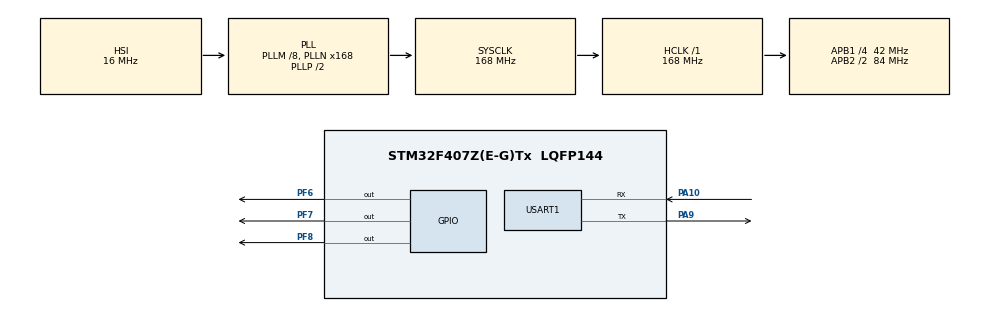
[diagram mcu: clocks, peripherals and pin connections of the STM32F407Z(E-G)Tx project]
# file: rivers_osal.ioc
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Dma.Request0=USART1_RX
Dma.Request1=USART1_TX
Dma.USART1_RX.0.Direction=DMA_PERIPH_TO_MEMORY
Dma.USART1_RX.0.FIFOMode=DMA_FIFOMODE_DISABLE
Dma.USART1_RX.0.Instance=DMA2_Stream2
Dma.USART1_RX.0.MemDataAlignment=DMA_MDATAALIGN_BYTE
Dma.USART1_RX.0.MemInc=DMA_MINC_ENABLE
Dma.USART1_RX.0.Mode=DMA_NORMAL
Dma.USART1_RX.0.PeriphDataAlignment=DMA_PDATAALIGN_BYTE
Dma.USART1_RX.0.PeriphInc=DMA_PINC_DISABLE
Dma.USART1_RX.0.Priority=DMA_PRIORITY_LOW
Dma.USART1_TX.1.Direction=DMA_MEMORY_TO_PERIPH
Dma.USART1_TX.1.FIFOMode=DMA_FIFOMODE_DISABLE
Dma.USART1_TX.1.Instance=DMA2_Stream7
Dma.USART1_TX.1.MemDataAlignment=DMA_MDATAALIGN_BYTE
Dma.USART1_TX.1.MemInc=DMA_MINC_ENABLE
Dma.USART1_TX.1.Mode=DMA_NORMAL
Dma.USART1_TX.1.PeriphDataAlignment=DMA_PDATAALIGN_BYTE
Dma.USART1_TX.1.PeriphInc=DMA_PINC_DISABLE
Dma.USART1_TX.1.Priority=DMA_PRIORITY_LOW
Mcu.Family=STM32F4
Mcu.Name=STM32F407Z(E-G)Tx
Mcu.Package=LQFP144
NVIC.DMA2_Stream2_IRQn=true\:0\:0\:false\:false\:true\:false\:true\:true
NVIC.DMA2_Stream7_IRQn=true\:0\:0\:false\:false\:true\:false\:true\:true
NVIC.PriorityGroup=NVIC_PRIORITYGROUP_4
NVIC.TIM8_BRK_TIM12_IRQn=true\:15\:0\:false\:false\:true\:false\:true\:true
NVIC.TimeBase=TIM8_BRK_TIM12_IRQn
NVIC.TimeBaseIP=TIM12
NVIC.USART1_IRQn=true\:0\:0\:false\:false\:true\:false\:true\:true
PA10.Mode=Asynchronous
PA10.Signal=USART1_RX
PA13.Mode=Serial_Wire
PA13.Signal=SYS_JTMS-SWDIO
PA14.Mode=Serial_Wire
PA14.Signal=SYS_JTCK-SWCLK
PA9.Mode=Asynchronous
PA9.Signal=USART1_TX
PF6.PinState=GPIO_PIN_SET
PF6.Signal=GPIO_Output
PF7.PinState=GPIO_PIN_SET
PF7.Signal=GPIO_Output
PF8.PinState=GPIO_PIN_SET
PF8.Signal=GPIO_Output
PH0-OSC_IN.Mode=HSE-External-Oscillator
PH0-OSC_IN.Signal=RCC_OSC_IN
PH1-OSC_OUT.Mode=HSE-External-Oscillator
PH1-OSC_OUT.Signal=RCC_OSC_OUT
ProjectManager.HeapSize=0x200
ProjectManager.StackSize=0x400
ProjectManager.TargetToolchain=MDK-ARM V5.32
RCC.48MHZClocksFreq_Value=84000000
RCC.AHBFreq_Value=168000000
RCC.APB1CLKDivider=RCC_HCLK_DIV4
RCC.APB1Freq_Value=42000000
RCC.APB1TimFreq_Value=84000000
RCC.APB2CLKDivider=RCC_HCLK_DIV2
RCC.APB2Freq_Value=84000000
RCC.APB2TimFreq_Value=168000000
RCC.CortexFreq_Value=168000000
RCC.HCLKFreq_Value=168000000
RCC.HSE_VALUE=25000000
RCC.HSI_VALUE=16000000
RCC.LSE_VALUE=32768
RCC.PLLM=8
RCC.PLLN=168
RCC.SYSCLKFreq_VALUE=168000000
RCC.SYSCLKSource=RCC_SYSCLKSOURCE_PLLCLK
RCC.VCOOutputFreq_Value=336000000
USART1.VirtualMode=VM_ASYNC
VP_SYS_VS_tim12.Mode=TIM12
board=custom

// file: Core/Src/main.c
/* USER CODE BEGIN Header */
/**
  ******************************************************************************
  * @file           : main.c
  * @brief          : Main program body
  ******************************************************************************
  * @attention
  *
  * Copyright (c) 2026 STMicroelectronics.
  * All rights reserved.
  *
  * This software is licensed under terms that can be found in the LICENSE file
  * in the root directory of this software component.
  * If no LICENSE file comes with this software, it is provided AS-IS.
  *
  ******************************************************************************
  */
/* USER CODE END Header */
#include "main.h"
#include "dma.h"
#include "usart.h"
#include "gpio.h"

/* USER CODE BEGIN Includes */
/* 如需启用 Flash 示例，请在包含 osal.h 之前先把下面这个宏改成 1。
 * 原因是 osal.h 会继续聚合平台头文件，而平台头里的部分示例配置会读取这个宏。 */
/* #define OSAL_PLATFORM_ENABLE_FLASH_DEMO 1 */
#include "osal.h"
#include <stdio.h>
#include <string.h>
/* USER CODE END Includes */

/* USER CODE BEGIN PTD */
#if OSAL_CFG_ENABLE_QUEUE
typedef struct {
  /* queue 当前是固定项大小的环形缓冲区，
   * 所以示例消息也设计成固定长度结构体。 */
  uint32_t sequence;
  uint8_t payload[8];
} app_queue_message_t;
#endif

/* -------------------------------------------------------------------------- */
/* Shared Tick Helper                                                         */
/* -------------------------------------------------------------------------- */

/*
 * 本文件里的大多数“周期示例”都采用同一种软件运行模式：
 *
 * 1. main() 里只负责创建任务、创建软件定时器，或者做一次性初始化。
 * 2. osal_start_system() 持续调用协作式调度器，反复执行各个 ready 任务函数。
 * 3. 每个任务在自己被调度到时，只做一次“现在是不是到点了”的检查。
 * 4. 没到点就立刻 return，把执行机会让给其他任务；到点才真正做一次业务。
 * 5. 做完后把“下一次执行时间”往后推进，再等待下一轮调度。
 *
 * 这样写的根本原因不是为了模仿 RTOS delay，而是为了适配当前 OSAL 的真实模型：
 *
 * - 没有独立任务栈
 * - 没有阻塞等待后自动恢复
 * - 没有“从上次挂起那一行继续往下执行”的上下文语义
 *
 * 所以周期任务想非阻塞运行，就必须自己维护 deadline。
 */
static bool app_tick_reached(uint32_t now_ms, uint32_t deadline_ms)
{
  /* 这里不能直接写 now_ms >= deadline_ms。
   * 因为 32 位 tick 会自然回绕，差值比较才是跨回绕点后仍然安全的写法。 */
  return ((int32_t)(now_ms - deadline_ms) >= 0);
}

/* -------------------------------------------------------------------------- */
/* USART Demo                                                                 */
/* -------------------------------------------------------------------------- */

#if OSAL_CFG_ENABLE_USART
/* 绑定到示例串口后，printf/fputc 都会从这里走出去。 */
static periph_uart_t *g_usart_demo_uart = NULL;

int fputc(int ch, FILE *f)
{
  return periph_uart_fputc(ch, f);
}

void app_usart_demo_init(void)
{
  static const uint8_t raw_bytes[] = {'a', 'b', 'c', '\r', '\n'};

  /*
   * 软件运行模式：
   * 1. 这个示例不创建任务，它只在启动阶段执行一次。
   * 2. 先通过 platform 层创建一个 UART 设备对象。
   * 3. 再把 printf/fputc 绑定到这个 UART。
   * 4. 后续 main.c 里的其他串口日志都会复用这条输出链路。
   */
  g_usart_demo_uart = osal_platform_uart_create();
  if (g_usart_demo_uart == NULL)
  {
    return;
  }

  (void)periph_uart_bind_console(g_usart_demo_uart);
  printf("\r\nOSAL STM32F4 demo\r\n");
  printf("tick source: osal_init() + SysTick counter\r\n");
  (void)periph_uart_write_string(g_usart_demo_uart, "osal usart demo\r\n");
  (void)periph_uart_write(g_usart_demo_uart, raw_bytes, (uint32_t)sizeof(raw_bytes));
}
#endif

/* -------------------------------------------------------------------------- */
/* LED Demo                                                                   */
/* -------------------------------------------------------------------------- */

static void led_demo_task(void *arg)
{
  static bool s_led_deadline_initialized = false;
  static uint32_t s_led1_next_ms = 0U;
  static uint32_t s_led2_next_ms = 0U;
  uint32_t now_ms;

  (void)arg;
  /*
   * 软件运行模式：
   * 1. main() 只创建一个 LED 任务。
   * 2. 这个任务每轮被调度时都读取一次当前 tick。
   * 3. LED1 到 500ms 周期点就翻转一次，LED2 到 1000ms 周期点就翻转一次。
   * 4. 如果本轮两个周期点都没到，就立刻返回，不阻塞 CPU。
   *
   * 这里故意不用 delay，也不用 while 死等，
   * 就是为了展示当前 OSAL 推荐的“协作式非阻塞周期任务”写法。
   */

  now_ms = osal_timer_get_tick();
  if (!s_led_deadline_initialized)
  {
    /* 第一次运行时把两个 LED 的 deadline 都对齐到当前时刻，
     * 这样任务创建后第一轮调度就能立即看到一次翻转。 */
    s_led1_next_ms = now_ms;
    s_led2_next_ms = now_ms;
    s_led_deadline_initialized = true;
  }

  if (app_tick_reached(now_ms, s_led1_next_ms))
  {
    osal_platform_led1_toggle();
    do
    {
      /* 如果调度晚了不止一个周期，就一直往后追，
       * 避免后续节拍永久漂移。 */
      s_led1_next_ms += 500U;
    } while (app_tick_reached(now_ms, s_led1_next_ms));
  }

  if (app_tick_reached(now_ms, s_led2_next_ms))
  {
    osal_platform_led2_toggle();
    do
    {
      s_led2_next_ms += 1000U;
    } while (app_tick_reached(now_ms, s_led2_next_ms));
  }
}

void app_led_demo_init(void)
{
  osal_task_t *task;

  /* 这里只创建一个低优先级任务，让它在内部同时管理两个 LED 的节拍。 */
  task = osal_task_create(led_demo_task, NULL, OSAL_TASK_PRIORITY_LOW);
  if (task != NULL)
  {
    (void)osal_task_start(task);
  }
}

/* -------------------------------------------------------------------------- */
/* Queue Demo                                                                 */
/* -------------------------------------------------------------------------- */

#if OSAL_CFG_ENABLE_QUEUE
/* 这个示例里的 queue 只是一个固定项大小的环形缓冲区。 */
static osal_queue_t *g_queue_demo_queue = NULL;

static void queue_demo_producer_task(void *arg)
{
  static bool s_queue_send_deadline_initialized = false;
  static uint32_t s_queue_next_send_ms = 0U;
  static uint32_t s_queue_next_sequence = 0U;
  app_queue_message_t message;
  uint32_t now_ms;
  uint32_t i;
  osal_status_t status;

  (void)arg;
  /*
   * 软件运行模式：
   * 1. producer 任务每轮都只做一次“是否到发送周期”的判断。
   * 2. 到点后构造一条固定长度消息，并立即尝试一次非阻塞 send。
   * 3. send 成功才推进到下一条序号和下一次发送时间。
   * 4. 如果队列满了，就保持当前 deadline 已到期的状态，等待后续轮次继续尝试。
   *
   * 这正好体现当前 queue 的真实语义：
   * - 它是固定项大小的环形缓冲区
   * - 它没有等待链表
   * - 它不会把 producer/consumer 自动挂起再恢复
   */
  if (g_queue_demo_queue == NULL)
  {
    return;
  }

  now_ms = osal_timer_get_tick();
  if (!s_queue_send_deadline_initialized)
  {
    s_queue_next_send_ms = now_ms;
    s_queue_send_deadline_initialized = true;
  }

  if (!app_tick_reached(now_ms, s_queue_next_send_ms))
  {
    return;
  }

  message.sequence = s_queue_next_sequence;
  for (i = 0U; i < (uint32_t)sizeof(message.payload); ++i)
  {
    message.payload[i] = (uint8_t)(message.sequence + i);
  }

  /*
   * 队列本体仍然是固定项大小的环形缓冲区。
   * 这里用任务层节拍去驱动发送，只做一次立即尝试，事件驱动节奏由任务自己管理。
   */
  status = osal_queue_send(g_queue_demo_queue, &message, 0U);
  if (status == OSAL_OK)
  {
    printf("queue send: seq=%lu first=%u count=%lu\r\n",
           (unsigned long)message.sequence,
           (unsigned int)message.payload[0],
           (unsigned long)osal_queue_get_count(g_queue_demo_queue));
    ++s_queue_next_sequence;
    do
    {
      s_queue_next_send_ms += 1000U;
    } while (app_tick_reached(now_ms, s_queue_next_send_ms));
  }
}

static void queue_demo_consumer_task(void *arg)
{
  app_queue_message_t message;
  osal_status_t status;

  (void)arg;
  if (g_queue_demo_queue == NULL)
  {
    return;
  }

  /*
   * 软件运行模式：
   * 1. consumer 任务没有自己的延时节拍。
   * 2. 它每轮被调度到时，都只做一次非阻塞 recv。
   * 3. 有消息就取走并打印，没有消息就立刻返回。
   *
   * 这是当前 queue 在协作式模型下最直接的使用方式：
   * 把“有没有消息”当成一次立即检查，而不是等待被 queue 唤醒。
   */
  status = osal_queue_recv(g_queue_demo_queue, &message, 0U);
  if (status == OSAL_OK)
  {
    printf("queue recv: seq=%lu bytes=%u,%u count=%lu\r\n",
           (unsigned long)message.sequence,
           (unsigned int)message.payload[0],
           (unsigned int)message.payload[1],
           (unsigned long)osal_queue_get_count(g_queue_demo_queue));
  }
}

void app_queue_demo_init(void)
{
  osal_task_t *producer_task;
  osal_task_t *consumer_task;

  /* 创建 8 个消息槽位，每个槽位都能完整放下一个 app_queue_message_t。 */
  g_queue_demo_queue = osal_queue_create(8U, (uint32_t)sizeof(app_queue_message_t));
  if (g_queue_demo_queue == NULL)
  {
    printf("queue create failed\r\n");
    return;
  }

  producer_task = osal_task_create(queue_demo_producer_task, NULL, OSAL_TASK_PRIORITY_HIGH);
  consumer_task = osal_task_create(queue_demo_consumer_task, NULL, OSAL_TASK_PRIORITY_HIGH);
  if (producer_task != NULL)
  {
    (void)osal_task_start(producer_task);
  }
  if (consumer_task != NULL)
  {
    (void)osal_task_start(consumer_task);
  }
}
#endif

/* -------------------------------------------------------------------------- */
/* Timer Demo                                                                 */
/* -------------------------------------------------------------------------- */

#if OSAL_CFG_ENABLE_SW_TIMER
/* 软件定时器回调最终在任务态执行，不会直接在 SysTick 中断里跑。
 * 这里示例改成直接走 printf，方便在串口控制台里观察输出。 */
static void oneshot_timer_callback(void *arg)
{
  (void)arg;
  printf("oneshot timer: %lu\r\n", (unsigned long)osal_timer_get_tick());
}

static void periodic_timer_callback(void *arg)
{
  (void)arg;
  printf("periodic timer: %lu\r\n", (unsigned long)osal_timer_get_tick());
}

void app_timer_demo_init(void)
{
  int oneshot_timer = osal_timer_create(2000000U, false, oneshot_timer_callback, NULL);
  int periodic_timer = osal_timer_create(1000000U, true, periodic_timer_callback, NULL);

  /*
   * 软件运行模式：
   * 1. 这里只创建两个软件定时器：一个 oneshot，一个 periodic。
   * 2. SysTick 中断本身只负责累计时间，不直接执行回调。
   * 3. osal_start_system() 内部会持续调用 osal_timer_poll()。
   * 4. osal_timer_poll() 发现到期后，才在任务态执行下面的回调函数。
   *
   * 所以这个示例展示的是“软件定时器 + 串口输出”路径，
   * 不是“中断里直接打印”的路径。
   */
  if (oneshot_timer >= 0)
  {
    (void)osal_timer_start(oneshot_timer);
  }
  if (periodic_timer >= 0)
  {
    (void)osal_timer_start(periodic_timer);
  }
}
#endif

/* -------------------------------------------------------------------------- */
/* RTT Demo                                                                   */
/* -------------------------------------------------------------------------- */

static void rtt_demo_task(void *arg)
{
  static bool s_rtt_initialized = false;
  static bool s_rtt_deadline_initialized = false;
  static uint32_t s_rtt_next_ms = 0U;
  uint32_t now_ms;

  (void)arg;
  /*
   * 软件运行模式：
   * 1. main() 创建一个中优先级 RTT 任务。
   * 2. 任务第一次运行时只做一次 SEGGER_RTT_Init()。
   * 3. 后续每 500ms 向 RTT 通道 0 打一条日志。
   * 4. 输出目的地是 J-Link RTT Viewer / RTT Client，不是串口。
   */
  if (!s_rtt_initialized)
  {
    /* RTT 控制块只需要初始化一次，后续每轮任务直接写日志即可。 */
    SEGGER_RTT_Init();
    s_rtt_initialized = true;
  }

  now_ms = osal_timer_get_tick();
  if (!s_rtt_deadline_initialized)
  {
    s_rtt_next_ms = now_ms;
    s_rtt_deadline_initialized = true;
  }

  if (!app_tick_reached(now_ms, s_rtt_next_ms))
  {
    return;
  }

  LOGW("rtt task running: %lu ms\r\n", (unsigned long)now_ms);
  do
  {
    s_rtt_next_ms += 500U;
  } while (app_tick_reached(now_ms, s_rtt_next_ms));
}

void app_rtt_demo_init(void)
{
  osal_task_t *task = osal_task_create(rtt_demo_task, NULL, OSAL_TASK_PRIORITY_MEDIUM);

  if (task != NULL)
  {
    (void)osal_task_start(task);
  }
}

/* -------------------------------------------------------------------------- */
/* DWT Profile Demo                                                           */
/* -------------------------------------------------------------------------- */

#if OSAL_CFG_ENABLE_IRQ_PROFILE
static void dwt_profile_demo_task(void *arg)
{
  static bool s_profile_deadline_initialized = false;
  static uint32_t s_profile_next_ms = 0U;
  osal_cortexm_profile_stats_t stats;
  uint32_t now_ms;
  uint32_t last_us;
  uint32_t min_us;
  uint32_t max_us;
  uint32_t avg_us;

  (void)arg;
  /*
   * 软件运行模式：
   * 1. DWT 是否真正启用，已经在 osal_init() 里由 cortexm 模块决定。
   * 2. system 层内部临界区会在后台持续累积 cycle 样本。
   * 3. 这个示例任务本身不做测量，只是每隔一段时间把当前统计结果读出来。
   * 4. 因此它更像“统计结果观察任务”，不是“临界区测量任务”。
   */
  if (!osal_cortexm_profile_get_stats(&stats))
  {
    /* 这里返回 false 通常表示：
     * 1. profiling 编译开关没打开
     * 2. 当前内核不支持 DWT CYCCNT */
    return;
  }

  now_ms = osal_timer_get_tick();
  if (!s_profile_deadline_initialized)
  {
    s_profile_next_ms = now_ms;
    s_profile_deadline_initialized = true;
  }

  if (!app_tick_reached(now_ms, s_profile_next_ms))
  {
    return;
  }

  last_us = osal_cortexm_profile_cycles_to_us(stats.last_cycles);
  min_us = osal_cortexm_profile_cycles_to_us(stats.min_cycles);
  max_us = osal_cortexm_profile_cycles_to_us(stats.max_cycles);
  avg_us = osal_cortexm_profile_cycles_to_us(stats.avg_cycles);
  /* 当前统计只覆盖 system 层内部显式包裹的临界区，
   * 不会把 main.c 里直接调用 osal_irq_* 的时间算进去。 */
  printf("dwt profile: hz=%lu samples=%lu last=%lu cyc/%lu ns/%lu us min=%lu cyc/%lu ns/%lu us max=%lu cyc/%lu ns/%lu us avg=%lu cyc/%lu ns/%lu us\r\n",
         (unsigned long)stats.cpu_clock_hz,
         (unsigned long)stats.sample_count,
         (unsigned long)stats.last_cycles,
         (unsigned long)stats.last_ns,
         (unsigned long)last_us,
         (unsigned long)stats.min_cycles,
         (unsigned long)stats.min_ns,
         (unsigned long)min_us,
         (unsigned long)stats.max_cycles,
         (unsigned long)stats.max_ns,
         (unsigned long)max_us,
         (unsigned long)stats.avg_cycles,
         (unsigned long)stats.avg_ns,
         (unsigned long)avg_us);
  do
  {
    s_profile_next_ms += OSAL_CORTEXM_CRITICAL_PROFILE_PRINT_INTERVAL_MS;
  } while (app_tick_reached(now_ms, s_profile_next_ms));
}

void app_dwt_profile_demo_init(void)
{
  osal_task_t *task;

  if (!osal_cortexm_profile_is_supported())
  {
    return;
  }

  task = osal_task_create(dwt_profile_demo_task, NULL, OSAL_TASK_PRIORITY_LOW);
  if (task != NULL)
  {
    (void)osal_task_start(task);
  }
}
#endif

/* -------------------------------------------------------------------------- */
/* Flash Demo                                                                 */
/* -------------------------------------------------------------------------- */

#if OSAL_CFG_ENABLE_FLASH && OSAL_PLATFORM_ENABLE_FLASH_DEMO
static periph_flash_t *g_flash_demo_device = NULL;
static bool g_flash_demo_done = false;

static void flash_demo_dump_bytes(const char *label, const uint8_t *data, uint32_t length)
{
  uint32_t i;

  printf("%s", label);
  for (i = 0U; i < length; ++i)
  {
    printf(" %02X", data[i]);
  }
  printf("\r\n");
}

static bool flash_demo_verify(const uint8_t *expected, const uint8_t *actual, uint32_t length)
{
  return (memcmp(expected, actual, length) == 0);
}

static void flash_demo_report_result(periph_flash_t *flash,
                                     const char *label,
                                     osal_status_t write_status,
                                     uint32_t address,
                                     const uint8_t *expected,
                                     uint32_t length)
{
  uint8_t readback[8];
  osal_status_t read_status;

  memset(readback, 0, sizeof(readback));

  if (write_status != OSAL_OK)
  {
    printf("%s failed, status=%d\r\n", label, (int)write_status);
    return;
  }

  read_status = periph_flash_read(flash, address, readback, length);
  if (read_status != OSAL_OK)
  {
    printf("%s read failed, status=%d\r\n", label, (int)read_status);
    return;
  }

  if (!flash_demo_verify(expected, readback, length))
  {
    /* 写成功但回读校验失败时，把期望值和实际值都打出来，方便直接定位。 */
    printf("%s verify failed @ 0x%08lX\r\n", label, (unsigned long)address);
    flash_demo_dump_bytes("expect:", expected, length);
    flash_demo_dump_bytes("actual:", readback, length);
    return;
  }

  printf("%s ok @ 0x%08lX\r\n", label, (unsigned long)address);
  flash_demo_dump_bytes("readback:", readback, length);
}

static void flash_demo_test_u8(periph_flash_t *flash, uint32_t address)
{
  uint8_t value = 0xA5U;
  osal_status_t status = periph_flash_write_u8(flash, address, value);

  flash_demo_report_result(flash, "flash u8", status, address, &value, sizeof(value));
}

static void flash_demo_test_u16(periph_flash_t *flash, uint32_t address)
{
  uint16_t value = 0x5AA5U;
  uint8_t expected[sizeof(value)];
  osal_status_t status;

  memcpy(expected, &value, sizeof(value));
  status = periph_flash_write_u16(flash, address, value);
  flash_demo_report_result(flash, "flash u16", status, address, expected, sizeof(expected));
}

static void flash_demo_test_u32(periph_flash_t *flash, uint32_t address)
{
  uint32_t value = 0x1234A5F0UL;
  uint8_t expected[sizeof(value)];
  osal_status_t status;

  memcpy(expected, &value, sizeof(value));
  status = periph_flash_write_u32(flash, address, value);
  flash_demo_report_result(flash, "flash u32", status, address, expected, sizeof(expected));
}

static void flash_demo_test_u64(periph_flash_t *flash, uint32_t address)
{
  uint64_t value = 0x1122334455667788ULL;
  uint8_t expected[sizeof(value)];
  osal_status_t status;

  memcpy(expected, &value, sizeof(value));
  status = periph_flash_write_u64(flash, address, value);
  flash_demo_report_result(flash, "flash u64", status, address, expected, sizeof(expected));
}

static void flash_demo_task(void *arg)
{
  uint32_t base = OSAL_PLATFORM_FLASH_DEMO_ADDRESS;

  (void)arg;
  /*
   * 软件运行模式：
   * 1. main() 里创建一个低优先级 flash 任务。
   * 2. 这个任务只在第一次真正执行时做一次完整测试。
   * 3. 流程固定为：unlock -> erase -> write -> read -> verify -> lock。
   * 4. 做完后把 done 置位，后续轮次立刻返回，避免重复擦写。
   */
  if ((g_flash_demo_device == NULL) || g_flash_demo_done)
  {
    return;
  }

  g_flash_demo_done = true;

  /* 这组写入地址故意错开，便于观察不同宽度写接口是否都按预期工作。 */
  printf("flash demo start @ 0x%08lX\r\n", (unsigned long)base);
  if (periph_flash_unlock(g_flash_demo_device) != OSAL_OK)
  {
    printf("flash unlock failed\r\n");
    return;
  }

  if (periph_flash_erase(g_flash_demo_device, base, 0x80U) != OSAL_OK)
  {
    printf("flash erase failed\r\n");
    (void)periph_flash_lock(g_flash_demo_device);
    return;
  }

  flash_demo_test_u8(g_flash_demo_device, base + 0x00U);
  flash_demo_test_u16(g_flash_demo_device, base + 0x10U);
  flash_demo_test_u32(g_flash_demo_device, base + 0x20U);
  flash_demo_test_u64(g_flash_demo_device, base + 0x30U);

  (void)periph_flash_lock(g_flash_demo_device);
}

void app_flash_demo_init(void)
{
  osal_task_t *task;

  g_flash_demo_device = osal_platform_flash_create();
  if (g_flash_demo_device == NULL)
  {
    return;
  }

  g_flash_demo_done = false;

  task = osal_task_create(flash_demo_task, NULL, OSAL_TASK_PRIORITY_LOW);
  if (task != NULL)
  {
    (void)osal_task_start(task);
  }
}
#endif
/* USER CODE END PTD */

void SystemClock_Config(void);

int main(void)
{

  /* MCU Configuration--------------------------------------------------------*/

  /* Reset of all peripherals, Initializes the Flash interface and the Systick. */
  HAL_Init();

  /* Configure the system clock */
  SystemClock_Config();

  /* Initialize board peripherals generated by CubeMX. */
  MX_GPIO_Init();
  MX_DMA_Init();
  MX_USART1_UART_Init();
  /* USER CODE BEGIN 2 */

  /*
   * ========================= OSAL Bring-up =========================
   * 1. osal_init() configures Cortex-M kernel peripherals used by OSAL:
   *    SysTick, NVIC Group (4) / SysTick priority, and optional DWT profiling.
   * 2. Each demo init below owns its own local state block and can be enabled independently.
   * 3. osal_start_system() takes over the top-level scheduler loop and does not return.
   */
  osal_init();

  /* ========================= Console Demo =========================
   * 先把控制台打通，后面其他示例的 printf 才有地方输出。 */
#if OSAL_CFG_ENABLE_USART
  app_usart_demo_init();
#endif

  /* =========================== Core Demos ===========================
   * 这里放最基础的 task / queue / timer / RTT 示例。
   * 哪个示例想观察就打开哪个 init；它们彼此独立，不要求全部同时启用。 */
  app_led_demo_init();
#if OSAL_CFG_ENABLE_QUEUE
  app_queue_demo_init();
#endif
#if OSAL_CFG_ENABLE_SW_TIMER
//  app_timer_demo_init();
#endif
  app_rtt_demo_init();

#if OSAL_CFG_ENABLE_IRQ_PROFILE
  /* ======================== DWT Profile Demo ========================
   * DWT profiling only reports system-layer internal critical sections. */
  app_dwt_profile_demo_init();
#endif

#if OSAL_CFG_ENABLE_FLASH && OSAL_PLATFORM_ENABLE_FLASH_DEMO
  /* ========================= Flash Demo =========================
   * flash 示例会连续打印擦写和回读结果，先给控制台一点启动时间。 */
  HAL_Delay(1000U);
  app_flash_demo_init();
#endif

  /* USER CODE END 2 */

  /* Start OSAL scheduler. Normal execution stays inside this call. */
  /* USER CODE BEGIN WHILE */
  osal_start_system();
  Error_Handler();
  /* USER CODE END WHILE */

}

void SystemClock_Config(void)
{
  RCC_OscInitTypeDef RCC_OscInitStruct = {0};
  RCC_ClkInitTypeDef RCC_ClkInitStruct = {0};

  /** Configure the main internal regulator output voltage
  */
  __HAL_RCC_PWR_CLK_ENABLE();
  __HAL_PWR_VOLTAGESCALING_CONFIG(PWR_REGULATOR_VOLTAGE_SCALE1);

  /** Initializes the RCC Oscillators according to the specified parameters
  * in the RCC_OscInitTypeDef structure.
  */
  RCC_OscInitStruct.OscillatorType = RCC_OSCILLATORTYPE_HSI;
  RCC_OscInitStruct.HSIState = RCC_HSI_ON;
  RCC_OscInitStruct.HSICalibrationValue = RCC_HSICALIBRATION_DEFAULT;
  RCC_OscInitStruct.PLL.PLLState = RCC_PLL_ON;
  RCC_OscInitStruct.PLL.PLLSource = RCC_PLLSOURCE_HSI;
  RCC_OscInitStruct.PLL.PLLM = 8;
  RCC_OscInitStruct.PLL.PLLN = 168;
  RCC_OscInitStruct.PLL.PLLP = RCC_PLLP_DIV2;
  RCC_OscInitStruct.PLL.PLLQ = 4;
  if (HAL_RCC_OscConfig(&RCC_OscInitStruct) != HAL_OK)
  {
    Error_Handler();
  }

  /** Initializes the CPU, AHB and APB buses clocks
  */
  RCC_ClkInitStruct.ClockType = RCC_CLOCKTYPE_HCLK|RCC_CLOCKTYPE_SYSCLK
                              |RCC_CLOCKTYPE_PCLK1|RCC_CLOCKTYPE_PCLK2;
  RCC_ClkInitStruct.SYSCLKSource = RCC_SYSCLKSOURCE_PLLCLK;
  RCC_ClkInitStruct.AHBCLKDivider = RCC_SYSCLK_DIV1;
  RCC_ClkInitStruct.APB1CLKDivider = RCC_HCLK_DIV4;
  RCC_ClkInitStruct.APB2CLKDivider = RCC_HCLK_DIV2;

  if (HAL_RCC_ClockConfig(&RCC_ClkInitStruct, FLASH_LATENCY_5) != HAL_OK)
  {
    Error_Handler();
  }
}

void HAL_TIM_PeriodElapsedCallback(TIM_HandleTypeDef *htim)
{
  if (htim->Instance == TIM12)
  {
    HAL_IncTick();
  }
}

void Error_Handler(void)
{
  __disable_irq();
  while (1)
  {
  }
}
